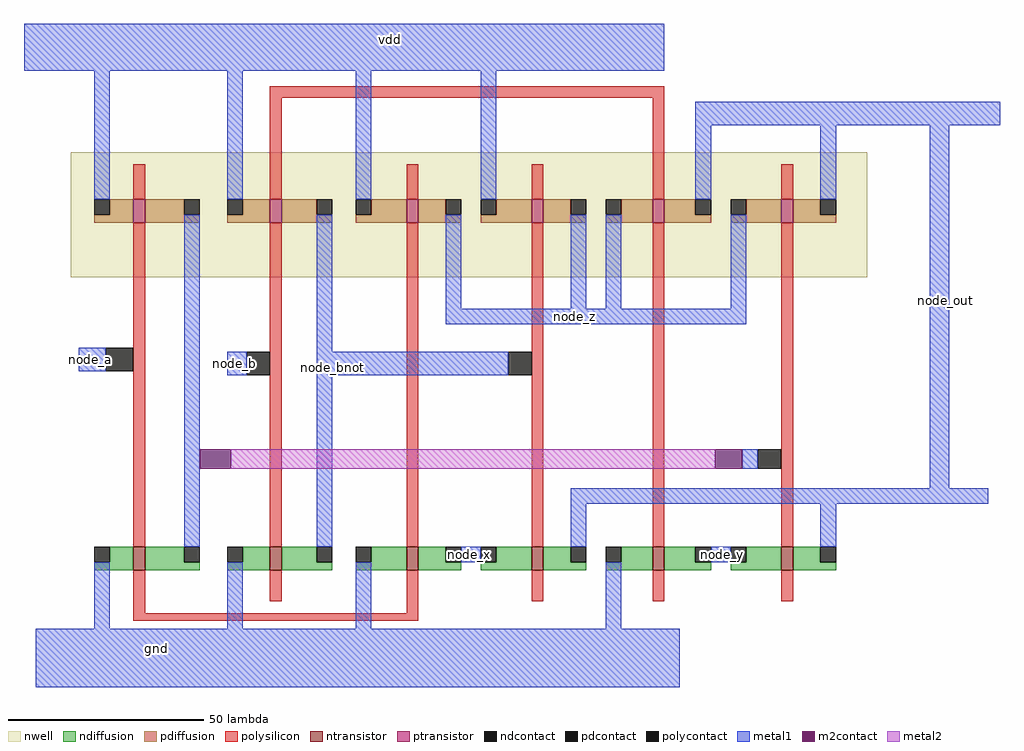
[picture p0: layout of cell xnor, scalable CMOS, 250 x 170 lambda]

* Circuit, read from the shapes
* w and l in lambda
.subckt xnor gnd node_a node_anot node_b node_bnot node_out node_x node_y node_z vdd
M1 node_anot node_a gnd VSUBS nfet w=6 l=3
M2 node_bnot node_b gnd VSUBS nfet w=6 l=3
M3 node_x node_a gnd VSUBS nfet w=6 l=3
M4 node_out node_bnot node_x VSUBS nfet w=6 l=3
M5 node_y node_b gnd VSUBS nfet w=6 l=3
M6 node_out node_anot node_y VSUBS nfet w=6 l=3
M7 node_anot node_a vdd n1 pfet w=6 l=3
M8 node_bnot node_b vdd n1 pfet w=6 l=3
M9 node_z node_a vdd n1 pfet w=6 l=3
M10 node_z node_bnot vdd n1 pfet w=6 l=3
M11 node_out node_b node_z n1 pfet w=6 l=3
M12 node_out node_anot node_z n1 pfet w=6 l=3
.ends

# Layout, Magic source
magic
tech scmos
<< nwell >>
rect -2797 924 -2593 956
<< ntransistor >>
rect -2781 849 -2778 855
rect -2746 849 -2743 855
rect -2711 849 -2708 855
rect -2679 849 -2676 855
rect -2648 849 -2645 855
rect -2615 849 -2612 855
<< ptransistor >>
rect -2781 938 -2778 944
rect -2746 938 -2743 944
rect -2711 938 -2708 944
rect -2679 938 -2676 944
rect -2648 938 -2645 944
rect -2615 938 -2612 944
<< ndiffusion >>
rect -2787 851 -2781 855
rect -2791 849 -2781 851
rect -2778 851 -2768 855
rect -2778 849 -2764 851
rect -2753 851 -2746 855
rect -2757 849 -2746 851
rect -2743 851 -2734 855
rect -2743 849 -2730 851
rect -2720 851 -2711 855
rect -2724 849 -2711 851
rect -2708 851 -2701 855
rect -2708 849 -2697 851
rect -2688 851 -2679 855
rect -2692 849 -2679 851
rect -2676 851 -2669 855
rect -2676 849 -2665 851
rect -2656 851 -2648 855
rect -2660 849 -2648 851
rect -2645 851 -2637 855
rect -2645 849 -2633 851
rect -2624 851 -2615 855
rect -2628 849 -2615 851
rect -2612 851 -2605 855
rect -2612 849 -2601 851
<< pdiffusion >>
rect -2787 940 -2781 944
rect -2791 938 -2781 940
rect -2778 940 -2768 944
rect -2778 938 -2764 940
rect -2753 940 -2746 944
rect -2757 938 -2746 940
rect -2743 940 -2734 944
rect -2743 938 -2730 940
rect -2720 940 -2711 944
rect -2724 938 -2711 940
rect -2708 940 -2701 944
rect -2708 938 -2697 940
rect -2688 940 -2679 944
rect -2692 938 -2679 940
rect -2676 940 -2669 944
rect -2676 938 -2665 940
rect -2656 940 -2648 944
rect -2660 938 -2648 940
rect -2645 940 -2637 944
rect -2645 938 -2633 940
rect -2624 940 -2615 944
rect -2628 938 -2615 940
rect -2612 940 -2605 944
rect -2612 938 -2601 940
<< ndcontact >>
rect -2791 851 -2787 855
rect -2768 851 -2764 855
rect -2757 851 -2753 855
rect -2734 851 -2730 855
rect -2724 851 -2720 855
rect -2701 851 -2697 855
rect -2692 851 -2688 855
rect -2669 851 -2665 855
rect -2660 851 -2656 855
rect -2637 851 -2633 855
rect -2628 851 -2624 855
rect -2605 851 -2601 855
<< pdcontact >>
rect -2791 940 -2787 944
rect -2768 940 -2764 944
rect -2757 940 -2753 944
rect -2734 940 -2730 944
rect -2724 940 -2720 944
rect -2701 940 -2697 944
rect -2692 940 -2688 944
rect -2669 940 -2665 944
rect -2660 940 -2656 944
rect -2637 940 -2633 944
rect -2628 940 -2624 944
rect -2605 940 -2601 944
<< polysilicon >>
rect -2746 970 -2645 973
rect -2781 944 -2778 953
rect -2746 944 -2743 970
rect -2711 944 -2708 953
rect -2679 944 -2676 953
rect -2648 944 -2645 970
rect -2615 944 -2612 953
rect -2781 855 -2778 938
rect -2746 855 -2743 938
rect -2711 855 -2708 938
rect -2679 855 -2676 938
rect -2648 855 -2645 938
rect -2615 855 -2612 938
rect -2781 838 -2778 849
rect -2746 841 -2743 849
rect -2711 838 -2708 849
rect -2679 841 -2676 849
rect -2648 841 -2645 849
rect -2615 841 -2612 849
rect -2781 836 -2708 838
<< polycontact >>
rect -2788 900 -2781 906
rect -2752 899 -2746 905
rect -2685 899 -2679 905
rect -2621 875 -2615 880
<< metal1 >>
rect -2809 977 -2645 989
rect -2791 944 -2787 977
rect -2757 944 -2753 977
rect -2724 944 -2720 977
rect -2692 944 -2688 977
rect -2637 963 -2559 969
rect -2637 944 -2633 963
rect -2605 944 -2601 963
rect -2795 900 -2788 906
rect -2768 855 -2764 940
rect -2734 905 -2730 940
rect -2701 916 -2697 940
rect -2669 916 -2665 940
rect -2660 916 -2656 940
rect -2628 916 -2624 940
rect -2701 912 -2624 916
rect -2757 899 -2752 905
rect -2734 899 -2685 905
rect -2734 855 -2730 899
rect -2625 875 -2621 880
rect -2577 870 -2572 963
rect -2669 866 -2562 870
rect -2669 855 -2665 866
rect -2605 855 -2601 866
rect -2697 851 -2692 855
rect -2633 851 -2628 855
rect -2791 834 -2787 851
rect -2757 834 -2753 851
rect -2724 834 -2720 851
rect -2660 834 -2656 851
rect -2806 819 -2641 834
<< m2contact >>
rect -2764 875 -2756 880
rect -2632 875 -2625 880
<< metal2 >>
rect -2756 875 -2632 880
<< labels >>
rlabel metal1 -2715 985 -2715 985 5 vdd
rlabel metal1 -2792 903 -2792 903 1 node_a
rlabel metal1 -2755 902 -2755 902 1 node_b
rlabel metal1 -2766 902 -2766 902 1 node_anot
rlabel metal1 -2730 901 -2730 901 1 node_bnot
rlabel metal1 -2775 829 -2775 829 1 gnd
rlabel metal1 -2573 918 -2573 918 1 node_out
rlabel metal1 -2695 853 -2695 853 1 node_x
rlabel metal1 -2630 853 -2630 853 1 node_y
rlabel metal1 -2668 914 -2668 914 1 node_z
<< end >>
